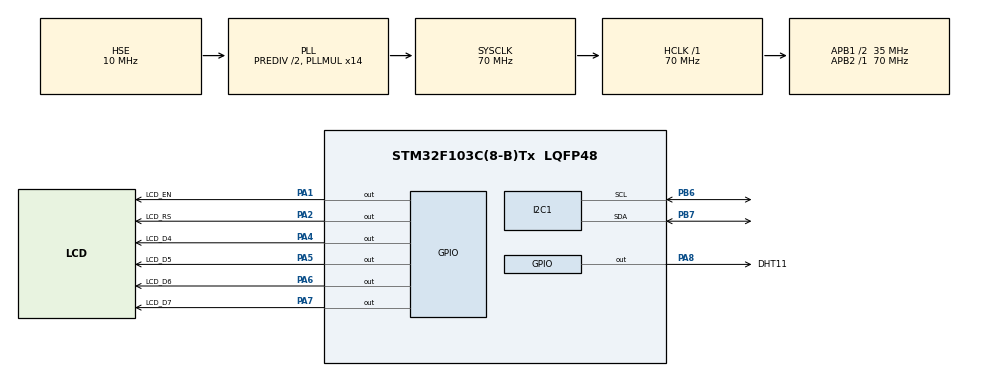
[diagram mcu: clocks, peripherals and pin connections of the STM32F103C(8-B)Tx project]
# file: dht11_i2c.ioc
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Mcu.Family=STM32F1
Mcu.Name=STM32F103C(8-B)Tx
Mcu.Package=LQFP48
NVIC.PriorityGroup=NVIC_PRIORITYGROUP_4
PA1.GPIO_Label=LCD_EN
PA1.Signal=GPIO_Output
PA13.Mode=Serial_Wire
PA13.Signal=SYS_JTMS-SWDIO
PA14.Mode=Serial_Wire
PA14.Signal=SYS_JTCK-SWCLK
PA2.GPIO_Label=LCD_RS
PA2.Signal=GPIO_Output
PA4.GPIO_Label=LCD_D4
PA4.Signal=GPIO_Output
PA5.GPIO_Label=LCD_D5
PA5.Signal=GPIO_Output
PA6.GPIO_Label=LCD_D6
PA6.Signal=GPIO_Output
PA7.GPIO_Label=LCD_D7
PA7.Signal=GPIO_Output
PA8.GPIO_Label=DHT11
PA8.Signal=GPIO_Output
PB6.Mode=I2C
PB6.Signal=I2C1_SCL
PB7.Mode=I2C
PB7.Signal=I2C1_SDA
PD0-OSC_IN.Mode=HSE-External-Oscillator
PD0-OSC_IN.Signal=RCC_OSC_IN
PD1-OSC_OUT.Mode=HSE-External-Oscillator
PD1-OSC_OUT.Signal=RCC_OSC_OUT
ProjectManager.HeapSize=0x200
ProjectManager.StackSize=0x400
ProjectManager.TargetToolchain=MDK-ARM V5.32
RCC.AHBFreq_Value=70000000
RCC.APB1CLKDivider=RCC_HCLK_DIV2
RCC.APB1Freq_Value=35000000
RCC.APB1TimFreq_Value=70000000
RCC.APB2Freq_Value=70000000
RCC.APB2TimFreq_Value=70000000
RCC.HCLKFreq_Value=70000000
RCC.HSEDivPLL=RCC_HSE_PREDIV_DIV2
RCC.HSE_VALUE=10000000
RCC.PLLMUL=RCC_PLL_MUL14
RCC.PLLSourceVirtual=RCC_PLLSOURCE_HSE
RCC.SYSCLKFreq_VALUE=70000000
RCC.SYSCLKSource=RCC_SYSCLKSOURCE_PLLCLK
RCC.USBFreq_Value=70000000
TIM4.Period=0xffff-1
TIM4.Prescaler=84-1
VP_TIM4_VS_ClockSourceINT.Mode=Internal
board=custom

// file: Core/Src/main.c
/* USER CODE BEGIN Header */
/**
  ******************************************************************************
  * @file           : main.c
  * @brief          : Main program body
  ******************************************************************************
  * @attention
  *
  * <h2><center>&copy; Copyright (c) 2020 STMicroelectronics.
  * All rights reserved.</center></h2>
  *
  * This software component is licensed by ST under BSD 3-Clause license,
  * the "License"; You may not use this file except in compliance with the
  * License. You may obtain a copy of the License at:
  *                        opensource.org/licenses/BSD-3-Clause
  *
  ******************************************************************************
  */
/* USER CODE END Header */
#include "main.h"
#include "LCD.h"

I2C_HandleTypeDef hi2c1;

TIM_HandleTypeDef htim4;

void SystemClock_Config(void);
static void MX_GPIO_Init(void);
static void MX_I2C1_Init(void);
static void MX_TIM4_Init(void);
/* USER CODE BEGIN PFP */
void delay(uint16_t time){

	__HAL_TIM_SET_COUNTER(&htim4,0);

	while(__HAL_TIM_GET_COUNTER(&htim4)< time);

}

void Set_Pin_Output(GPIO_TypeDef *GPIOx, uint16_t GPIO_Pin){

	GPIO_InitTypeDef DHT11_DATA={0};

	DHT11_DATA.Pin=GPIO_Pin;
	DHT11_DATA.Mode=GPIO_MODE_OUTPUT_PP;
	DHT11_DATA.Pull=GPIO_NOPULL;
	DHT11_DATA.Speed=GPIO_SPEED_FREQ_LOW;

	HAL_GPIO_Init(GPIOx,&DHT11_DATA);

}

void Set_Pin_Input(GPIO_TypeDef *GPIOx, uint16_t GPIO_Pin){

	GPIO_InitTypeDef DHT11_DATA={0};

	DHT11_DATA.Pin=GPIO_Pin;
	DHT11_DATA.Mode=GPIO_MODE_INPUT;
	DHT11_DATA.Pull=GPIO_NOPULL;
	DHT11_DATA.Speed=GPIO_SPEED_FREQ_LOW;

	HAL_GPIO_Init(GPIOx,&DHT11_DATA);

}

#define DHT11_PORT GPIOA
#define DHT11_PIN GPIO_PIN_2

uint8_t durum=0,Humidity=0,Temperature=0;
uint16_t tempVal=0,humVal=0;
uint8_t dhtVal[2];
uint8_t mData[40];
uint16_t mTime1 = 0, mTime2 = 0;
uint16_t mbit = 0;
uint8_t  parityVal = 0, genParity = 0;

uint8_t DHT11_Read (void){

  for(int a=0;a<40;a++) mData[a]=0;
   mTime1 = 0, mTime2 = 0, durum=0, tempVal=0, humVal=0, parityVal = 0, genParity = 0,  mbit = 0;

     Set_Pin_Output(DHT11_PORT,DHT11_PIN);
	 HAL_GPIO_WritePin(DHT11_PORT,DHT11_PIN,GPIO_PIN_RESET);
    delay(18000);
   	Set_Pin_Input(DHT11_PORT,DHT11_PIN);

	 __HAL_TIM_SET_COUNTER(&htim4, 0);				//set timer counter to zero
	while(HAL_GPIO_ReadPin(DHT11_PORT, DHT11_PIN) == GPIO_PIN_SET) if((uint16_t)__HAL_TIM_GET_COUNTER(&htim4) > 500) return 0;

	__HAL_TIM_SET_COUNTER(&htim4, 0);
	while(HAL_GPIO_ReadPin(DHT11_PORT, DHT11_PIN) == GPIO_PIN_RESET) if((uint16_t)__HAL_TIM_GET_COUNTER(&htim4) > 500) return 0;
	mTime1 = (uint16_t)__HAL_TIM_GET_COUNTER(&htim4);

	__HAL_TIM_SET_COUNTER(&htim4, 0);
	while(HAL_GPIO_ReadPin(DHT11_PORT, DHT11_PIN) == GPIO_PIN_SET) if((uint16_t)__HAL_TIM_GET_COUNTER(&htim4) > 500) return 0;
    mTime2 = (uint16_t)__HAL_TIM_GET_COUNTER(&htim4);

	if(mTime1 < 75 && mTime1 > 85 && mTime2 < 75 && mTime2 > 85)
	{

		return 0;
	}

	for(int j = 0; j < 40; j++)
	{
		__HAL_TIM_SET_COUNTER(&htim4, 0);
		while(HAL_GPIO_ReadPin(DHT11_PORT, DHT11_PIN) == GPIO_PIN_RESET) if((uint16_t)__HAL_TIM_GET_COUNTER(&htim4) > 500) return 0;
		__HAL_TIM_SET_COUNTER(&htim4, 0);
		while(HAL_GPIO_ReadPin(DHT11_PORT, DHT11_PIN) == GPIO_PIN_SET) if((uint16_t)__HAL_TIM_GET_COUNTER(&htim4) > 500) return 0;
		mTime1 = (uint16_t)__HAL_TIM_GET_COUNTER(&htim4);

		//check pass time in high state
		//if pass time 25uS set as LOW
		if(mTime1 > 20 && mTime1 < 30)
		{
			mbit = 0;
		}
		else if(mTime1 > 60 && mTime1 < 80) //if pass time 70 uS set as HIGH
		{
			 mbit = 1;
		}

		//set i th data in data buffer
		mData[j] = mbit;

	}

	//get hum value from data buffer
	for(int i = 0; i < 8; i++)
	{
		humVal += mData[i];
		humVal = humVal << 1;
	}

	//get temp value from data buffer
	for(int i = 16; i < 24; i++)
	{
		tempVal += mData[i];
		tempVal = tempVal << 1;
	}

	//get parity value from data buffer
	for(int i = 32; i < 40; i++)
	{
		parityVal += mData[i];
		parityVal = parityVal << 1;
	}

	parityVal = parityVal >> 1;
	humVal = humVal >> 1;
	tempVal = tempVal >> 1;

	genParity = humVal + tempVal;

	dhtVal[0]= tempVal;
	dhtVal[1] = humVal;

	return 1;
}
/* USER CODE END PFP */

int main(void)
{

  /* MCU Configuration--------------------------------------------------------*/

  /* Reset of all peripherals, Initializes the Flash interface and the Systick. */
  HAL_Init();

  /* Configure the system clock */
  SystemClock_Config();

  /* Initialize all configured peripherals */
  MX_GPIO_Init();
  MX_I2C1_Init();
  MX_TIM4_Init();
  /* USER CODE BEGIN 2 */
  HAL_TIM_Base_Start(&htim4);
	lcd_init(_LCD_4BIT, _LCD_FONT_5x8, _LCD_2LINE);

  /* USER CODE END 2 */

  /* Infinite loop */
  while (1)
  {

  }
}

void SystemClock_Config(void)
{
  RCC_OscInitTypeDef RCC_OscInitStruct = {0};
  RCC_ClkInitTypeDef RCC_ClkInitStruct = {0};

  /** Initializes the RCC Oscillators according to the specified parameters
  * in the RCC_OscInitTypeDef structure.
  */
  RCC_OscInitStruct.OscillatorType = RCC_OSCILLATORTYPE_HSE;
  RCC_OscInitStruct.HSEState = RCC_HSE_ON;
  RCC_OscInitStruct.HSEPredivValue = RCC_HSE_PREDIV_DIV2;
  RCC_OscInitStruct.HSIState = RCC_HSI_ON;
  RCC_OscInitStruct.PLL.PLLState = RCC_PLL_ON;
  RCC_OscInitStruct.PLL.PLLSource = RCC_PLLSOURCE_HSE;
  RCC_OscInitStruct.PLL.PLLMUL = RCC_PLL_MUL14;
  if (HAL_RCC_OscConfig(&RCC_OscInitStruct) != HAL_OK)
  {
    Error_Handler();
  }
  /** Initializes the CPU, AHB and APB buses clocks
  */
  RCC_ClkInitStruct.ClockType = RCC_CLOCKTYPE_HCLK|RCC_CLOCKTYPE_SYSCLK
                              |RCC_CLOCKTYPE_PCLK1|RCC_CLOCKTYPE_PCLK2;
  RCC_ClkInitStruct.SYSCLKSource = RCC_SYSCLKSOURCE_PLLCLK;
  RCC_ClkInitStruct.AHBCLKDivider = RCC_SYSCLK_DIV1;
  RCC_ClkInitStruct.APB1CLKDivider = RCC_HCLK_DIV2;
  RCC_ClkInitStruct.APB2CLKDivider = RCC_HCLK_DIV1;

  if (HAL_RCC_ClockConfig(&RCC_ClkInitStruct, FLASH_LATENCY_2) != HAL_OK)
  {
    Error_Handler();
  }
}

static void MX_I2C1_Init(void)
{

  hi2c1.Instance = I2C1;
  hi2c1.Init.ClockSpeed = 100000;
  hi2c1.Init.DutyCycle = I2C_DUTYCYCLE_2;
  hi2c1.Init.OwnAddress1 = 0;
  hi2c1.Init.AddressingMode = I2C_ADDRESSINGMODE_7BIT;
  hi2c1.Init.DualAddressMode = I2C_DUALADDRESS_DISABLE;
  hi2c1.Init.OwnAddress2 = 0;
  hi2c1.Init.GeneralCallMode = I2C_GENERALCALL_DISABLE;
  hi2c1.Init.NoStretchMode = I2C_NOSTRETCH_DISABLE;
  if (HAL_I2C_Init(&hi2c1) != HAL_OK)
  {
    Error_Handler();
  }

}

static void MX_TIM4_Init(void)
{

  TIM_ClockConfigTypeDef sClockSourceConfig = {0};
  TIM_MasterConfigTypeDef sMasterConfig = {0};

  htim4.Instance = TIM4;
  htim4.Init.Prescaler = 84-1;
  htim4.Init.CounterMode = TIM_COUNTERMODE_UP;
  htim4.Init.Period = 0xffff-1;
  htim4.Init.ClockDivision = TIM_CLOCKDIVISION_DIV1;
  htim4.Init.AutoReloadPreload = TIM_AUTORELOAD_PRELOAD_DISABLE;
  if (HAL_TIM_Base_Init(&htim4) != HAL_OK)
  {
    Error_Handler();
  }
  sClockSourceConfig.ClockSource = TIM_CLOCKSOURCE_INTERNAL;
  if (HAL_TIM_ConfigClockSource(&htim4, &sClockSourceConfig) != HAL_OK)
  {
    Error_Handler();
  }
  sMasterConfig.MasterOutputTrigger = TIM_TRGO_RESET;
  sMasterConfig.MasterSlaveMode = TIM_MASTERSLAVEMODE_DISABLE;
  if (HAL_TIMEx_MasterConfigSynchronization(&htim4, &sMasterConfig) != HAL_OK)
  {
    Error_Handler();
  }

}

static void MX_GPIO_Init(void)
{
  GPIO_InitTypeDef GPIO_InitStruct = {0};

  /* GPIO Ports Clock Enable */
  __HAL_RCC_GPIOD_CLK_ENABLE();
  __HAL_RCC_GPIOA_CLK_ENABLE();
  __HAL_RCC_GPIOB_CLK_ENABLE();

  /*Configure GPIO pin Output Level */
  HAL_GPIO_WritePin(GPIOA, LCD_EN_Pin|LCD_RS_Pin|LCD_D4_Pin|LCD_D5_Pin
                          |LCD_D6_Pin|LCD_D7_Pin|DHT11_Pin, GPIO_PIN_RESET);

  /*Configure GPIO pins : LCD_EN_Pin LCD_RS_Pin LCD_D4_Pin LCD_D5_Pin
                           LCD_D6_Pin LCD_D7_Pin DHT11_Pin */
  GPIO_InitStruct.Pin = LCD_EN_Pin|LCD_RS_Pin|LCD_D4_Pin|LCD_D5_Pin
                          |LCD_D6_Pin|LCD_D7_Pin|DHT11_Pin;
  GPIO_InitStruct.Mode = GPIO_MODE_OUTPUT_PP;
  GPIO_InitStruct.Pull = GPIO_NOPULL;
  GPIO_InitStruct.Speed = GPIO_SPEED_FREQ_LOW;
  HAL_GPIO_Init(GPIOA, &GPIO_InitStruct);

}

void Error_Handler(void)
{
}

/************************ (C) COPYRIGHT STMicroelectronics *****END OF FILE****/
